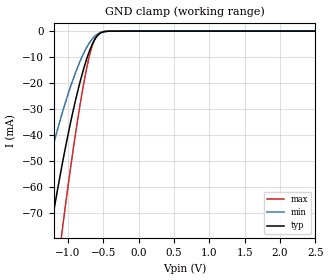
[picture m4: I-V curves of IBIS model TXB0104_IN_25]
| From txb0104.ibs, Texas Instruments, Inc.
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[Model]   TXB0104_IN_25
Model_type  Input
Vinl=0.805
Vinh=1.755
| variable   typ   min   max
C_comp   2.95pF   2.56pF   3.27pF
[Temperature Range]   40   100   -40
| Ambient temperature   25   85   -40
[Voltage range]   2.5   2.3   2.7
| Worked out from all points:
|   GND clamp passes 1 mA (typ) near -0.55 V on its own axis
[GND Clamp]
| TXB0104_IN_25
|   Voltage   I(typ)   I(min)   I(max)
-5.5V     -1.044A    -792.2mA   -1.306A
-1.49V    -118.9mA   -76.3mA    -173.2mA
-1.245V   -76.3mA    -47.83mA   -113.4mA
-1.095V   -53.15mA   -32.79mA   -79.61mA
-1.075V   -50.27mA   -30.94mA   -75.32mA
-905mV    -28.01mA   -16.85mA   -41.57mA
-760mV    -12.86mA   -7.552mA   -17.68mA
-665mV    -5.597mA   -3.318mA   -6.389mA
-620mV    -3.173mA   -1.962mA   -3.092mA
-565mV    -1.281mA   -878.8uA   -956.5uA
-415mV    -38.26uA   -41.1uA    -10.09uA
2.5V      152.7pA    645.1pA    18.98pA
